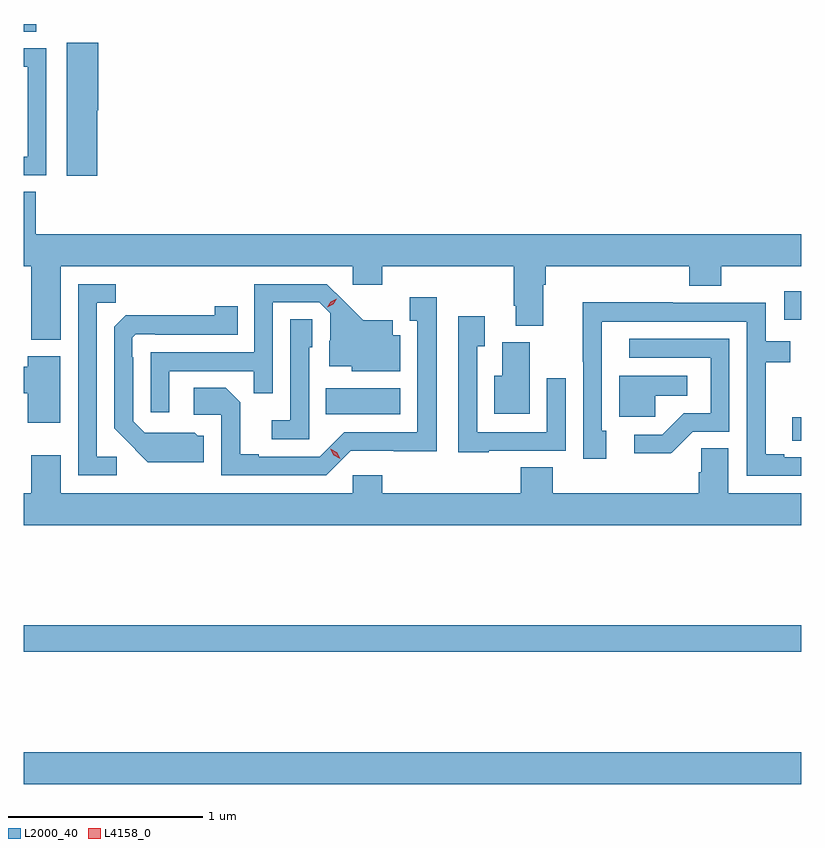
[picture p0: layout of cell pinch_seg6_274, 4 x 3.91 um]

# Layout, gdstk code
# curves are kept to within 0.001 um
import gdstk
lib = gdstk.Library(unit=1e-6, precision=1e-09)
def R(c, l, rs):  # rectangles x0, y0, x1, y1
    for r in rs: c.add(gdstk.rectangle(r[:2], r[2:], *l))
def P(c, l, *ps):  # polygons
    for p in ps: c.add(gdstk.Polygon(p, *l))
L2000_40 = (2000, 40)
L4158_0 = (4158, 0)

pinch_seg6_274 = lib.new_cell('pinch_seg6_274')
R(pinch_seg6_274, L2000_40, [(830.675,983.3,834.675,983.464), (830.675,983.98,834.675,984.116), (834.63,985.066,834.675,985.188), (832.228,985.202,832.612,985.336), (834.588,985.689,834.675,985.837), (830.675,987.172,830.738,987.211)])
P(pinch_seg6_274, L2000_40, [(831.053,986.766),(831.058,986.766),(831.058,987.115),(830.897,987.115),(830.897,986.43),(831.053,986.43)],
  [(830.79,987.087),(830.675,987.087),(830.675,986.991),(830.693,986.991),(830.693,986.99),(830.694,986.99),(830.694,986.529),(830.675,986.529),(830.675,986.433),(830.79,986.433)],
  [(830.866,985.964),(832.368,985.964),(832.368,985.869),(832.52,985.869),(832.52,985.964),(833.195,985.964),(833.195,985.762),(833.207,985.762),(833.207,985.657),(833.347,985.657),(833.347,985.868),(833.36,985.868),(833.36,985.964),(834.098,985.964),(834.098,985.865),(834.263,985.865),(834.263,985.964),(834.675,985.964),(834.675,986.128),(830.735,986.128),(830.735,986.348),(830.675,986.348),(830.675,985.964),(830.714,985.964),(830.714,985.586),(830.866,985.586)],
  [(831.154,984.984),(831.051,984.984),(831.051,985.777),(831.147,985.777),(831.147,985.872),(830.955,985.872),(830.955,984.888),(831.154,984.888)],
  [(831.423,985.425),(831.859,985.425),(831.859,985.312),(831.957,985.312),(831.957,985.779),(832.194,985.779),(832.251,985.722),(832.251,985.58),(832.247,985.58),(832.247,985.451),(832.362,985.451),(832.362,985.424),(832.612,985.424),(832.612,985.609),(832.573,985.609),(832.573,985.687),(832.421,985.687),(832.234,985.872),(831.861,985.872),(831.861,985.521),(831.327,985.521),(831.327,985.212),(831.423,985.212)],
  [(832.356,985.014),(832.801,985.013),(832.801,985.804),(832.661,985.804),(832.661,985.683),(832.7,985.683),(832.7,985.11),(832.323,985.11),(832.197,984.984),(831.883,984.984),(831.883,984.997),(831.789,984.997),(831.789,985.264),(831.713,985.34),(831.549,985.34),(831.549,985.2),(831.69,985.2),(831.69,984.888),(832.23,984.888)],
  [(834.675,984.981),(834.589,984.981),(834.589,984.996),(834.493,984.996),(834.493,985.47),(834.62,985.47),(834.62,985.578),(834.492,985.578),(834.492,985.776),(834.014,985.776),(834.014,985.778),(833.552,985.778),(833.552,985.474),(833.553,985.474),(833.553,984.975),(833.671,984.975),(833.671,985.119),(833.649,985.119),(833.649,985.68),(834.396,985.68),(834.396,984.885),(834.675,984.885)],
  [(831.601,985.092),(831.57,985.092),(831.554,985.108),(831.297,985.107),(831.237,985.167),(831.237,985.496),(831.234,985.496),(831.234,985.596),(831.252,985.614),(831.352,985.614),(831.352,985.611),(831.776,985.611),(831.776,985.759),(831.658,985.759),(831.658,985.712),(831.2,985.711),(831.141,985.652),(831.141,985.13),(831.313,984.956),(831.601,984.956)],
  [(833.067,985.014),(833.463,985.014),(833.463,985.387),(833.367,985.387),(833.367,985.11),(833.007,985.11),(833.007,985.552),(833.047,985.552),(833.047,985.708),(832.911,985.708),(832.911,985.007),(833.067,985.007)],
  [(832.143,985.548),(832.158,985.548),(832.158,985.691),(832.047,985.691),(832.047,985.171),(831.951,985.171),(831.951,985.074),(832.143,985.074)],
  [(834.009,985.005),(834.117,985.113),(834.306,985.113),(834.306,985.59),(833.79,985.59),(833.79,985.494),(834.21,985.494),(834.21,985.209),(834.072,985.209),(833.961,985.098),(833.817,985.098),(833.817,985.001),(834.004,985.001)],
  [(833.278,985.572),(833.138,985.572),(833.138,985.402),(833.096,985.402),(833.096,985.205),(833.278,985.205)],
  [(830.863,985.501),(830.696,985.501),(830.696,985.448),(830.675,985.448),(830.675,985.312),(830.696,985.312),(830.696,985.158),(830.863,985.158)],
  [(833.925,985.298),(834.088,985.298),(834.088,985.402),(833.738,985.402),(833.738,985.191),(833.925,985.191)],
  [(834.675,984.796),(834.301,984.796),(834.301,985.028),(834.162,985.028),(834.162,984.905),(834.149,984.905),(834.149,984.796),(833.396,984.796),(833.396,984.929),(833.231,984.929),(833.231,984.796),(832.52,984.796),(832.52,984.889),(832.368,984.889),(832.368,984.796),(830.866,984.796),(830.866,984.991),(830.714,984.991),(830.714,984.796),(830.675,984.796),(830.675,984.632),(834.675,984.632)])
P(pinch_seg6_274, L4158_0, [(832.302,984.975),(832.27,984.993),(832.252,985.025),(832.252,985.026),(832.252,985.026),(832.284,985.007),(832.302,984.975),(832.302,984.975)],
  [(832.236,985.753),(832.236,985.753),(832.254,985.782),(832.285,985.797),(832.285,985.797),(832.285,985.797),(832.268,985.768),(832.237,985.753)])

lib.write_gds('pinch_seg6_274.gds')
